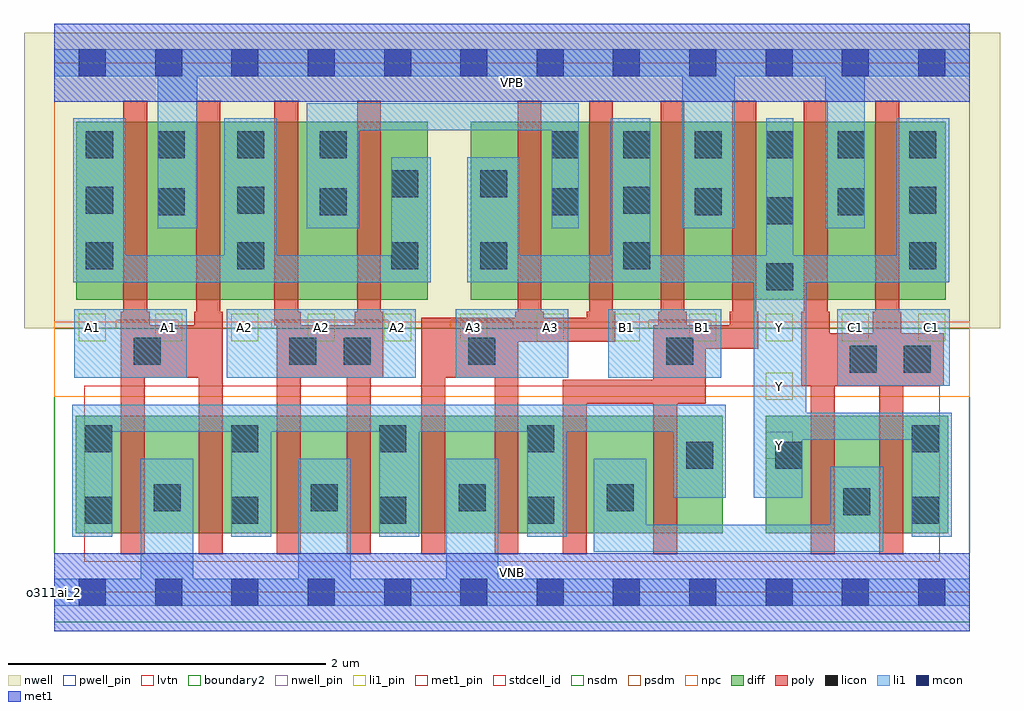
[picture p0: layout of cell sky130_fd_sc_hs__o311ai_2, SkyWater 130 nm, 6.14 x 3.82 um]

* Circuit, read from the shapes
.subckt sky130_fd_sc_hs__o311ai_2 A1 A2 A3 B1 C1 VGND VNB VPB VPWR Y
XM1 VGND A1 n1 VNB sky130_fd_pr__nfet_01v8_lvt w=0.74 l=0.15 m=2
XM2 VGND A2 n1 VNB sky130_fd_pr__nfet_01v8_lvt w=0.74 l=0.15 m=2
XM3 VGND A3 n1 VNB sky130_fd_pr__nfet_01v8_lvt w=0.74 l=0.15 m=2
XM4 n2 B1 n1 VNB sky130_fd_pr__nfet_01v8_lvt w=0.74 l=0.15 m=2
XM5 n2 C1 Y VNB sky130_fd_pr__nfet_01v8_lvt w=0.74 l=0.15 m=2
XM6 VPWR A1 n3 VPB sky130_fd_pr__pfet_01v8 w=1.12 l=0.15 m=2
XM7 n4 A2 n3 VPB sky130_fd_pr__pfet_01v8 w=1.12 l=0.15 m=2
XM8 n4 A3 Y VPB sky130_fd_pr__pfet_01v8 w=1.12 l=0.15 m=2
XM9 VPWR B1 Y VPB sky130_fd_pr__pfet_01v8 w=1.12 l=0.15 m=2
XM10 VPWR C1 Y VPB sky130_fd_pr__pfet_01v8 w=1.12 l=0.15 m=2
.ends

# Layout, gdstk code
import gdstk
lib = gdstk.Library(unit=1e-6, precision=1e-09)
def R(c, l, rs):  # rectangles x0, y0, x1, y1
    for r in rs: c.add(gdstk.rectangle(r[:2], r[2:], *l))
def A(c, l, x, y, w, h, nx, ny, dx, dy):  # array of equal rectangles
    R(c, l, [(x+i*dx, y+j*dy, x+i*dx+w, y+j*dy+h) for i in range(nx) for j in range(ny)])
def P(c, l, *ps):  # polygons
    for p in ps: c.add(gdstk.Polygon(p, *l))
nwell_pin = (64, 16)
nwell = (64, 20)
diff = (65, 20)
poly = (66, 20)
licon = (66, 44)
li1_pin = (67, 16)
li1 = (67, 20)
mcon = (67, 44)
met1_pin = (68, 16)
met1 = (68, 20)
stdcell_id = (81, 4)
nsdm = (93, 44)
psdm = (94, 20)
npc = (95, 20)
pwell_pin = (122, 16)
lvtn = (125, 44)
boundary2 = (236, 0)

sky130_fd_sc_hs__o311ai_ = lib.new_cell('sky130_fd_sc_hs__o311ai_2')
R(sky130_fd_sc_hs__o311ai_, nwell_pin, [(0,3.085,5.76,3.33)])
R(sky130_fd_sc_hs__o311ai_, nwell, [(-0.19,1.66,5.95,3.52)])
R(sky130_fd_sc_hs__o311ai_, diff, [(0.135,0.37,4.205,1.11), (4.475,0.37,5.625,1.11), (0.14,1.84,2.35,2.96), (2.62,1.84,5.61,2.96)])
P(sky130_fd_sc_hs__o311ai_, poly, [(5.595,1.63),(5.33,1.63),(5.33,1.765),(5.315,1.765),(5.315,3.09),(5.165,3.09),(5.165,1.765),(5.15,1.765),(5.15,1.63),(4.88,1.63),(4.88,1.765),(4.865,1.765),(4.865,3.09),(4.715,3.09),(4.715,1.765),(4.7,1.765),(4.7,1.3),(4.76,1.3),(4.76,0.24),(4.91,0.24),(4.91,1.3),(5.19,1.3),(5.19,0.24),(5.34,0.24),(5.34,1.3),(5.595,1.3)],
  [(4.43,1.765),(4.415,1.765),(4.415,3.09),(4.265,3.09),(4.265,1.765),(4.25,1.765),(4.25,1.68),(3.98,1.68),(3.98,1.765),(3.965,1.765),(3.965,3.09),(3.815,3.09),(3.815,1.765),(3.8,1.765),(3.8,1.68),(3.77,1.68),(3.77,1.335),(3.2,1.335),(3.2,0.24),(3.35,0.24),(3.35,1.185),(3.77,1.185),(3.77,0.24),(3.92,0.24),(3.92,1.185),(4.1,1.185),(4.1,1.53),(4.43,1.53)],
  [(3.53,1.765),(3.515,1.765),(3.515,3.09),(3.365,3.09),(3.365,1.765),(3.35,1.765),(3.35,1.725),(3.08,1.725),(3.08,1.765),(3.065,1.765),(3.065,3.09),(2.915,3.09),(2.915,1.765),(2.9,1.765),(2.9,1.725),(2.31,1.725),(2.31,0.24),(2.46,0.24),(2.46,1.35),(2.77,1.35),(2.77,0.24),(2.92,0.24),(2.92,1.575),(3.53,1.575)],
  [(2.07,1.765),(2.055,1.765),(2.055,3.09),(1.905,3.09),(1.905,1.765),(1.89,1.765),(1.89,1.68),(1.55,1.68),(1.55,1.765),(1.535,1.765),(1.535,3.09),(1.385,3.09),(1.385,1.68),(1.4,1.68),(1.4,0.24),(1.55,0.24),(1.55,1.35),(1.84,1.35),(1.84,0.24),(1.99,0.24),(1.99,1.35),(2.07,1.35)],
  [(1.06,1.765),(1.045,1.765),(1.045,3.09),(0.895,3.09),(0.895,1.765),(0.88,1.765),(0.88,1.68),(0.6,1.68),(0.6,1.765),(0.585,1.765),(0.585,3.09),(0.435,3.09),(0.435,1.765),(0.42,1.765),(0.42,0.24),(0.57,0.24),(0.57,1.35),(0.91,1.35),(0.91,0.24),(1.06,0.24)])
A(sky130_fd_sc_hs__o311ai_, licon, 1.115, 0.43, 0.17, 0.17, 3, 2, 0.93, 0.45)
A(sky130_fd_sc_hs__o311ai_, licon, 1.615, 0.51, 0.17, 0.17, 3, 1, 0.93, 0)
A(sky130_fd_sc_hs__o311ai_, licon, 0.2, 2.03, 0.17, 0.17, 1, 3, 0, 0.35)
A(sky130_fd_sc_hs__o311ai_, licon, 1.15, 2.03, 0.17, 0.17, 1, 3, 0, 0.35)
A(sky130_fd_sc_hs__o311ai_, licon, 3.13, 2.37, 0.17, 0.17, 3, 1, 0.9, 0)
A(sky130_fd_sc_hs__o311ai_, licon, 3.13, 2.73, 0.17, 0.17, 6, 1, 0.45, 0)
R(sky130_fd_sc_hs__o311ai_, licon, [(0.195,0.43,0.365,0.6), (5.395,0.43,5.565,0.6), (4.965,0.485,5.135,0.655), (0.625,0.51,0.795,0.68), (3.975,0.775,4.145,0.945), (4.535,0.775,4.705,0.945), (0.195,0.88,0.365,1.05), (5.395,0.88,5.565,1.05), (5.005,1.38,5.175,1.55), (5.345,1.38,5.515,1.55), (0.5,1.43,0.67,1.6), (1.48,1.43,1.65,1.6), (1.82,1.43,1.99,1.6), (2.605,1.43,2.775,1.6), (3.85,1.43,4.02,1.6), (4.48,1.9,4.65,2.07), (2.12,2.03,2.29,2.2), (2.68,2.03,2.85,2.2), (3.58,2.03,3.75,2.2), (5.38,2.03,5.55,2.2), (4.48,2.315,4.65,2.485), (0.65,2.37,0.82,2.54), (1.67,2.37,1.84,2.54), (3.58,2.38,3.75,2.55), (5.38,2.38,5.55,2.55), (2.12,2.485,2.29,2.655), (2.68,2.485,2.85,2.655), (0.65,2.73,0.82,2.9), (1.67,2.73,1.84,2.9)])
A(sky130_fd_sc_hs__o311ai_, li1_pin, 0.155, 1.58, 0.17, 0.17, 12, 1, 0.48, 0)
R(sky130_fd_sc_hs__o311ai_, li1_pin, [(4.475,0.84,4.645,1.01), (4.475,1.21,4.645,1.38)])
R(sky130_fd_sc_hs__o311ai_, li1, [(4.925,1.3,5.635,1.78), (0.125,1.35,0.835,1.78), (1.085,1.35,2.275,1.78), (2.525,1.35,3.235,1.78), (3.485,1.35,4.195,1.78)])
P(sky130_fd_sc_hs__o311ai_, li1, [(0,-0.085),(0,0.085),(0.545,0.085),(0.545,0.84),(0.875,0.84),(0.875,0.085),(1.535,0.085),(1.535,0.84),(1.865,0.84),(1.865,0.085),(2.465,0.085),(2.465,0.84),(2.795,0.84),(2.795,0.085),(5.76,0.085),(5.76,-0.085)],
  [(0,3.245),(0,3.415),(5.76,3.415),(5.76,3.245),(5.1,3.245),(5.1,2.29),(4.85,2.29),(4.85,3.245),(4.28,3.245),(4.28,2.29),(3.95,2.29),(3.95,3.245),(0.9,3.245),(0.9,2.29),(0.65,2.29),(0.65,3.245)],
  [(4.48,2.12),(4.48,2.98),(4.65,2.98),(4.65,2.12),(5.3,2.12),(5.3,2.98),(5.63,2.98),(5.63,1.95),(4.73,1.95),(4.73,1.13),(5.645,1.13),(5.645,0.35),(5.395,0.35),(5.395,0.96),(4.705,0.96),(4.705,0.595),(4.4,0.595),(4.4,1.95),(2.6,1.95),(2.6,2.735),(2.93,2.735),(2.93,2.12),(3.5,2.12),(3.5,2.98),(3.75,2.98),(3.75,2.12)],
  [(3.725,0.425),(4.885,0.425),(4.885,0.79),(5.215,0.79),(5.215,0.255),(3.395,0.255),(3.395,0.84),(3.725,0.84)],
  [(1.115,0.35),(1.115,1.01),(0.365,1.01),(0.365,0.35),(0.115,0.35),(0.115,1.18),(4.225,1.18),(4.225,0.595),(3.895,0.595),(3.895,1.01),(3.225,1.01),(3.225,0.35),(2.975,0.35),(2.975,1.01),(2.295,1.01),(2.295,0.35),(2.045,0.35),(2.045,1.01),(1.365,1.01),(1.365,0.35)],
  [(1.59,2.29),(1.59,3.075),(3.3,3.075),(3.3,2.29),(3.13,2.29),(3.13,2.905),(1.92,2.905),(1.92,2.29)],
  [(1.07,2.12),(1.07,2.98),(1.4,2.98),(1.4,2.12),(2.12,2.12),(2.12,2.735),(2.37,2.735),(2.37,1.95),(0.12,1.95),(0.12,2.98),(0.45,2.98),(0.45,2.12)])
A(sky130_fd_sc_hs__o311ai_, mcon, 0.155, -0.085, 0.17, 0.17, 12, 2, 0.48, 3.33)
R(sky130_fd_sc_hs__o311ai_, met1_pin, [(0,0,5.76,0.245), (0,3.085,5.76,3.33)])
R(sky130_fd_sc_hs__o311ai_, met1, [(0,-0.245,5.76,0.245), (0,3.085,5.76,3.575)])
R(sky130_fd_sc_hs__o311ai_, stdcell_id, [(0,0,5.76,3.33)])
R(sky130_fd_sc_hs__o311ai_, nsdm, [(0,-0.19,5.76,1.66)])
P(sky130_fd_sc_hs__o311ai_, psdm, [(5.76,3.52),(0,3.52),(0,1.66),(0.39,1.66),(0.39,1.71),(0.78,1.71),(0.78,1.66),(1.37,1.66),(1.37,1.71),(2.1,1.71),(2.1,1.66),(2.495,1.66),(2.495,1.71),(2.885,1.71),(2.885,1.66),(3.74,1.66),(3.74,1.71),(4.13,1.71),(4.13,1.66),(5.76,1.66)])
R(sky130_fd_sc_hs__o311ai_, npc, [(0,1.23,5.76,1.7)])
R(sky130_fd_sc_hs__o311ai_, pwell_pin, [(0,0,5.76,0.245)])
R(sky130_fd_sc_hs__o311ai_, lvtn, [(0.19,0.19,5.57,1.3)])
R(sky130_fd_sc_hs__o311ai_, boundary2, [(0,0,5.76,3.33)])
sky130_fd_sc_hs__o311ai_.add(gdstk.Label('o311ai_2', (0,0), layer=83, texttype=44))
sky130_fd_sc_hs__o311ai_.add(gdstk.Label('VNB', (2.88,0.123), layer=64, texttype=59))
sky130_fd_sc_hs__o311ai_.add(gdstk.Label('VPB', (2.88,3.208), layer=64, texttype=5))
sky130_fd_sc_hs__o311ai_.add(gdstk.Label('VPWR', (2.88,3.208), layer=68, texttype=5))
sky130_fd_sc_hs__o311ai_.add(gdstk.Label('VGND', (2.88,0.123), layer=68, texttype=5))
sky130_fd_sc_hs__o311ai_.add(gdstk.Label('A2', (1.2,1.665), layer=67, texttype=5))
sky130_fd_sc_hs__o311ai_.add(gdstk.Label('A2', (1.68,1.665), layer=67, texttype=5))
sky130_fd_sc_hs__o311ai_.add(gdstk.Label('A2', (2.16,1.665), layer=67, texttype=5))
sky130_fd_sc_hs__o311ai_.add(gdstk.Label('A3', (2.64,1.665), layer=67, texttype=5))
sky130_fd_sc_hs__o311ai_.add(gdstk.Label('A3', (3.12,1.665), layer=67, texttype=5))
sky130_fd_sc_hs__o311ai_.add(gdstk.Label('C1', (5.04,1.665), layer=67, texttype=5))
sky130_fd_sc_hs__o311ai_.add(gdstk.Label('C1', (5.52,1.665), layer=67, texttype=5))
sky130_fd_sc_hs__o311ai_.add(gdstk.Label('B1', (3.6,1.665), layer=67, texttype=5))
sky130_fd_sc_hs__o311ai_.add(gdstk.Label('B1', (4.08,1.665), layer=67, texttype=5))
sky130_fd_sc_hs__o311ai_.add(gdstk.Label('Y', (4.56,0.925), layer=67, texttype=5))
sky130_fd_sc_hs__o311ai_.add(gdstk.Label('Y', (4.56,1.295), layer=67, texttype=5))
sky130_fd_sc_hs__o311ai_.add(gdstk.Label('Y', (4.56,1.665), layer=67, texttype=5))
sky130_fd_sc_hs__o311ai_.add(gdstk.Label('A1', (0.24,1.665), layer=67, texttype=5))
sky130_fd_sc_hs__o311ai_.add(gdstk.Label('A1', (0.72,1.665), layer=67, texttype=5))

lib.write_gds('sky130_fd_sc_hs__o311ai_2.gds')
